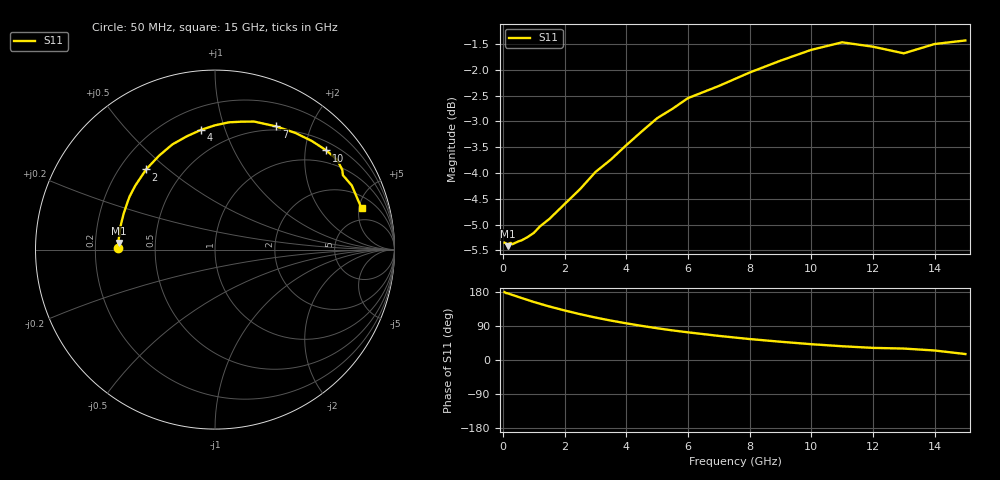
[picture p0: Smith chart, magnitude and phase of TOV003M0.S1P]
! SIEMENS Small Signal Semiconductors
! BAT15-03W
! Si Schottky Diode in SOD323
! IF = 3 mA
! S-Parameters:  May  1996
# GHz  S  MA  R  50
!  f  S11
! GHz  MAG  ANG
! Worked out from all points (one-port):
!   31 points, 50 MHz to 15 GHz, reference 50 ohm
!   lowest |S11| = -5.4 dB at 150 MHz (marker M1), VSWR 3.31, Z = 15.1 + j1.55 ohm
!   |S11| at or under -10 dB: nowhere
!   S11 on the Smith chart (normalised r, x): 50 MHz: 0.30, +0.01; 2 GHz: 0.31, +0.42; 4 GHz: 0.34, +0.83; 7 GHz: 0.46, +1.52; 10 GHz: 0.69, +2.46; 15 GHz: 3.25, +5.32
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0.05  0.5401 179.1
0.1  0.5392 176.5
0.15  0.5359 176.1
0.25  0.5398 173.1
0.3  0.5383 171.7
0.5  0.5418 166.3
0.8  0.547 158.4
1  0.5521 153.1
1.2  0.5603 148.3
1.5  0.5695 141.3
2  0.5889 130.7
2.5  0.6088 120.9
3  0.6325 112.0
3.5  0.6504 104.0
4  0.6716 96.7
4.5  0.6924 90.0
5  0.7132 83.8
5.5  0.7285 78.1
6  0.7459 73.0
7  0.7664 63.6
8  0.7898 55.3
9  0.8109 48.2
10  0.8308 41.7
11  0.8448 36.3
12  0.8366 32.0
13  0.8243 30.2
14  0.8416 25.1
15  0.8484 15.7
